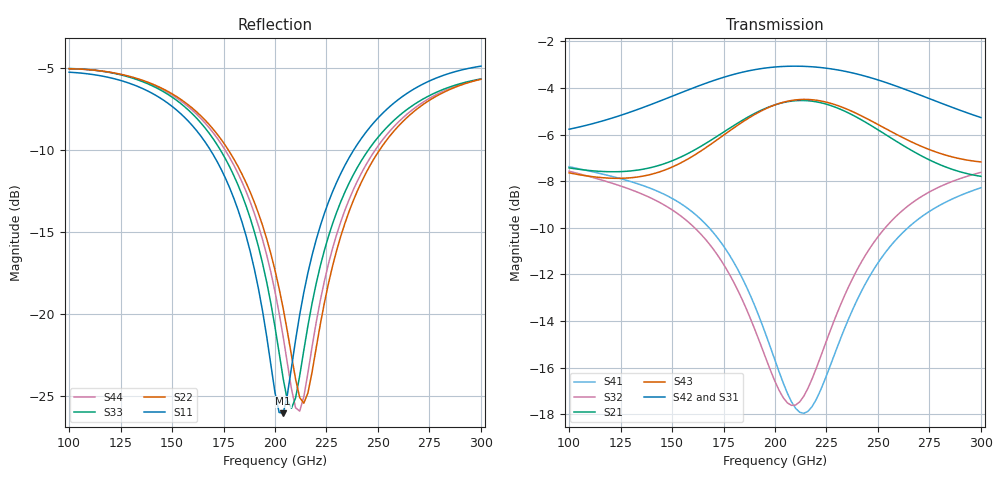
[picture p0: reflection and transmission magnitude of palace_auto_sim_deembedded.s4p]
! Created with skrf 2.0.1 (http://scikit-rf.org).
# GHz S DB R 50.0
!freq dBS11 angS11 dBS12 angS12 dBS13 angS13
! dBS14 angS14
! dBS21 angS21 dBS22 angS22 dBS23 angS23
! dBS24 angS24
! dBS31 angS31 dBS32 angS32 dBS33 angS33
! dBS34 angS34
! dBS41 angS41 dBS42 angS42 dBS43 angS43
! dBS44 angS44
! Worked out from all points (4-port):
!   101 points, 100 GHz to 300 GHz, reference 50 ohm
!   strongest paths, dB at 100 GHz, 150 GHz, 200 GHz, 250 GHz, 300 GHz:
!     S42: -5.8, -4.4, -3.1, -3.7, -5.3
!     S31: -5.7, -4.1, -3.0, -4.0, -5.6
!     S43: -7.6, -7.4, -4.7, -5.6, -7.2
!     S21: -7.4, -7.1, -4.7, -5.8, -7.8
!     S32: -7.6, -9.2, -16.6, -10.4, -7.6
!     S41: -7.4, -8.7, -15.7, -11.5, -8.3
!   lowest |S11| = -26.1 dB at 204 GHz (marker M1), VSWR 1.10, Z = 55.2 + j0.0509 ohm
!   |S11| at or under -10 dB: 168.7 GHz to 238.2 GHz (69.49 GHz wide, 34.2 % of centre)
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100  -5.24 166.1  -7.43 -46.3  -5.66 -76.1  -7.38 -58.8
     -7.43 -46.3  -5.02 157.8  -7.57 -62.3  -5.77 -79.8
     -5.66 -76.1  -7.57 -62.3  -5.01 157.0  -7.64 -49.4
     -7.38 -58.8  -5.77 -79.8  -7.64 -49.4  -5.02 157.5
168  -9.86 123.1  -6.29 -64.6  -3.53 -135.4  -10.00 -103.2
     -6.29 -64.6  -8.42 112.2  -10.68 -106.7  -3.74 -140.0
     -3.53 -135.4  -10.68 -106.7  -8.96 107.7  -6.46 -67.1
     -10.00 -103.2  -3.74 -140.0  -6.46 -67.1  -8.62 110.6
190  -17.27 92.2  -5.10 -77.5  -3.06 -159.8  -13.31 -115.8
     -5.10 -77.5  -13.19 87.4  -14.32 -115.6  -3.21 -164.2
     -3.06 -159.8  -14.32 -115.6  -14.99 78.3  -5.14 -80.3
     -13.31 -115.8  -3.21 -164.2  -5.14 -80.3  -13.86 84.4
204  -26.06 0.5  -4.62 -88.7  -3.02 -175.8  -16.66 -110.0
     -4.62 -88.7  -19.68 58.2  -17.29 -102.7  -3.07 179.8
     -3.02 -175.8  -17.29 -102.7  -23.96 27.3  -4.61 -91.9
     -16.66 -110.0  -3.07 179.8  -4.61 -91.9  -21.41 49.8
214  -18.68 -62.5  -4.54 -97.4  -3.11 172.9  -17.96 -91.2
     -4.54 -97.4  -25.44 -12.7  -17.23 -82.6  -3.07 168.3
     -3.11 172.9  -17.23 -82.6  -22.21 -65.9  -4.49 -100.8
     -17.96 -91.2  -3.07 168.3  -4.49 -100.8  -25.05 -39.2
236  -10.45 -95.0  -5.08 -115.5  -3.56 149.0  -13.86 -68.0
     -5.08 -115.5  -13.73 -103.9  -12.48 -71.5  -3.32 143.2
     -3.56 149.0  -12.48 -71.5  -12.00 -114.8  -4.95 -119.3
     -13.86 -68.0  -3.32 143.2  -4.95 -119.3  -13.01 -109.3
300  -4.87 -137.5  -7.79 -141.3  -5.62 90.7  -8.28 -105.7
     -7.79 -141.3  -5.66 -160.5  -7.62 -116.3  -5.27 80.2
     -5.62 90.7  -7.62 -116.3  -5.65 -164.7  -7.17 -148.5
     -8.28 -105.7  -5.27 80.2  -7.17 -148.5  -5.67 -162.8
